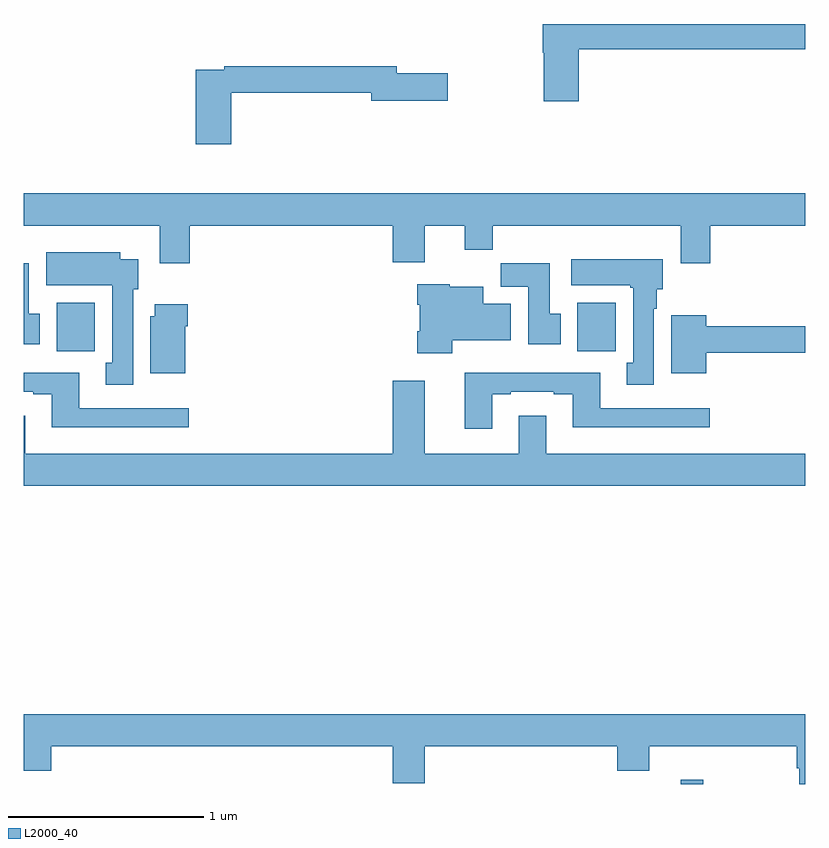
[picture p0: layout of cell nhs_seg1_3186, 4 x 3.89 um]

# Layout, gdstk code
import gdstk
lib = gdstk.Library(unit=1e-6, precision=1e-09)
def R(c, l, rs):  # rectangles x0, y0, x1, y1
    for r in rs: c.add(gdstk.rectangle(r[:2], r[2:], *l))
def P(c, l, *ps):  # polygons
    for p in ps: c.add(gdstk.Polygon(p, *l))
L2000_40 = (2000, 40)

nhs_seg1_3186 = lib.new_cell('nhs_seg1_3186')
R(nhs_seg1_3186, L2000_40, [(286.362,558.199,286.477,558.22), (283.169,560.412,283.365,560.662), (285.833,560.412,286.029,560.662)])
P(nhs_seg1_3186, L2000_40, [(285.839,561.958),(287,561.958),(287,562.087),(285.656,562.087),(285.656,561.941),(285.661,561.941),(285.661,561.693),(285.839,561.693)],
  [(284.063,561.736),(284.78,561.736),(284.78,561.694),(285.169,561.694),(285.169,561.836),(284.908,561.836),(284.908,561.872),(284.026,561.872),(284.026,561.852),(283.88,561.852),(283.88,561.471),(284.063,561.471)],
  [(283,561.056),(283.697,561.056),(283.697,560.862),(283.85,560.862),(283.85,561.056),(284.888,561.056),(284.888,560.868),(285.052,560.868),(285.052,561.056),(285.257,561.056),(285.257,560.932),(285.401,560.932),(285.401,561.056),(286.361,561.056),(286.361,560.862),(286.514,560.862),(286.514,561.056),(287,561.056),(287,561.22),(283,561.22)],
  [(283.561,560.73),(283.588,560.73),(283.588,560.884),(283.495,560.884),(283.495,560.92),(283.115,560.92),(283.115,560.75),(283.454,560.75),(283.454,560.353),(283.421,560.353),(283.421,560.241),(283.561,560.241)],
  [(286.225,560.63),(286.24,560.63),(286.24,560.73),(286.27,560.73),(286.27,560.884),(285.801,560.884),(285.801,560.75),(286.105,560.75),(286.105,560.737),(286.118,560.737),(286.118,560.353),(286.085,560.353),(286.085,560.241),(286.225,560.241)],
  [(285.748,560.604),(285.691,560.604),(285.691,560.863),(285.442,560.863),(285.442,560.744),(285.581,560.744),(285.581,560.448),(285.748,560.448)],
  [(283.084,560.604),(283.027,560.604),(283.027,560.862),(283,560.862),(283,560.448),(283.084,560.448)],
  [(285.192,560.468),(285.493,560.468),(285.493,560.656),(285.352,560.656),(285.352,560.743),(285.18,560.743),(285.18,560.755),(285.014,560.755),(285.014,560.651),(285.026,560.651),(285.026,560.515),(285.014,560.515),(285.014,560.403),(285.192,560.403)],
  [(283.828,560.54),(283.841,560.54),(283.841,560.653),(283.67,560.653),(283.67,560.592),(283.649,560.592),(283.649,560.3),(283.828,560.3)],
  [(286.492,560.404),(287,560.404),(287,560.54),(286.492,560.54),(286.492,560.596),(286.313,560.596),(286.313,560.3),(286.492,560.3)],
  [(283.846,560.121),(283.285,560.121),(283.285,560.302),(283,560.302),(283,560.205),(283.049,560.205),(283.049,560.193),(283.145,560.193),(283.145,560.024),(283.846,560.024)],
  [(285.397,560.193),(285.493,560.193),(285.493,560.205),(285.713,560.205),(285.713,560.193),(285.809,560.193),(285.809,560.024),(286.51,560.024),(286.51,560.121),(285.949,560.121),(285.949,560.302),(285.257,560.302),(285.257,560.016),(285.397,560.016)],
  [(287,559.888),(285.673,559.888),(285.673,560.083),(285.533,560.083),(285.533,559.888),(285.052,559.888),(285.052,560.263),(284.888,560.263),(284.888,559.888),(283.009,559.888),(283.009,560.083),(283,560.083),(283,559.724),(287,559.724)],
  [(287,558.556),(283,558.556),(283,558.268),(283.142,558.268),(283.142,558.392),(284.888,558.392),(284.888,558.204),(285.052,558.204),(285.052,558.392),(286.037,558.392),(286.037,558.268),(286.202,558.268),(286.202,558.392),(286.955,558.392),(286.955,558.28),(286.969,558.28),(286.969,558.199),(287,558.199)])

lib.write_gds('nhs_seg1_3186.gds')
